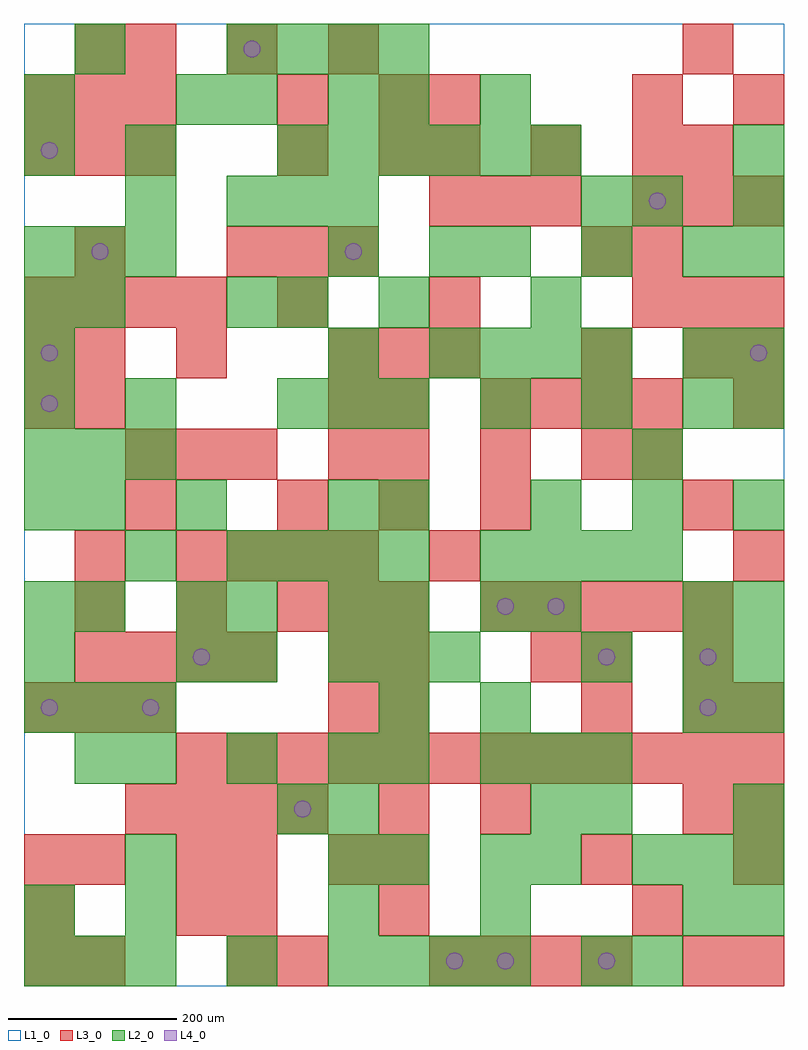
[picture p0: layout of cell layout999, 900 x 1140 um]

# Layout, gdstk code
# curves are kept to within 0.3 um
import gdstk
lib = gdstk.Library(unit=1e-6, precision=1e-09)
def R(c, l, rs):  # rectangles x0, y0, x1, y1
    for r in rs: c.add(gdstk.rectangle(r[:2], r[2:], *l))
def A(c, l, x, y, w, h, nx, ny, dx, dy):  # array of equal rectangles
    R(c, l, [(x+i*dx, y+j*dy, x+i*dx+w, y+j*dy+h) for i in range(nx) for j in range(ny)])
def P(c, l, *ps):  # polygons
    for p in ps: c.add(gdstk.Polygon(p, *l))
L1_0 = (1, 0)
L2_0 = (2, 0)
L3_0 = (3, 0)
L4_0 = (4, 0)

layout999 = lib.new_cell('layout999')
R(layout999, L1_0, [(0,0,900,1140)])
A(layout999, L2_0, 0, 0, 60, 60, 3, 3, 60, 300)
A(layout999, L2_0, 360, 0, 60, 60, 4, 1, 60, 0)
A(layout999, L2_0, 660, 0, 60, 60, 1, 3, 0, 180)
A(layout999, L2_0, 360, 60, 60, 60, 1, 3, 0, 60)
A(layout999, L2_0, 840, 60, 60, 60, 1, 3, 0, 120)
A(layout999, L2_0, 720, 120, 60, 60, 3, 1, 60, 0)
A(layout999, L2_0, 120, 240, 60, 60, 3, 1, 120, 0)
A(layout999, L2_0, 540, 240, 60, 60, 3, 1, 60, 0)
A(layout999, L2_0, 420, 300, 60, 60, 1, 3, 0, 120)
A(layout999, L2_0, 780, 300, 60, 60, 1, 3, 0, 60)
A(layout999, L2_0, 360, 360, 60, 60, 3, 1, 60, 0)
A(layout999, L2_0, 0, 420, 60, 60, 1, 3, 0, 120)
A(layout999, L2_0, 240, 480, 60, 60, 4, 2, 60, 600)
A(layout999, L2_0, 540, 480, 60, 60, 4, 1, 60, 0)
A(layout999, L2_0, 600, 540, 60, 60, 3, 1, 120, 0)
A(layout999, L2_0, 300, 660, 60, 60, 3, 1, 60, 0)
A(layout999, L2_0, 540, 660, 60, 60, 3, 2, 120, 180)
A(layout999, L2_0, 480, 720, 60, 60, 4, 1, 60, 0)
A(layout999, L2_0, 0, 840, 60, 60, 3, 1, 60, 0)
A(layout999, L2_0, 840, 840, 60, 60, 1, 3, 0, 60)
A(layout999, L2_0, 240, 900, 60, 60, 3, 1, 60, 0)
A(layout999, L2_0, 300, 960, 60, 60, 6, 1, 60, 0)
R(layout999, L2_0, [(240,0,300,60), (720,0,780,60), (0,60,60,120), (120,60,180,120), (540,60,600,120), (780,60,840,120), (120,120,180,180), (420,120,480,180), (540,120,600,180), (600,120,660,180), (300,180,360,240), (600,180,660,240), (60,240,120,300), (420,240,480,300), (540,300,600,360), (0,360,60,420), (180,360,240,420), (240,360,300,420), (840,360,900,420), (60,420,120,480), (180,420,240,480), (240,420,300,480), (360,420,420,480), (540,420,600,480), (600,420,660,480), (840,420,900,480), (120,480,180,540), (60,540,120,600), (180,540,240,600), (360,540,420,600), (720,600,780,660), (120,660,180,720), (840,660,900,720), (0,720,60,780), (360,720,420,780), (780,720,840,780), (840,720,900,780), (0,780,60,840), (60,780,120,840), (240,780,300,840), (300,780,360,840), (420,780,480,840), (600,780,660,840), (360,840,420,900), (480,840,540,900), (120,900,180,960), (660,900,720,960), (720,900,780,960), (0,960,60,1020), (120,960,180,1020), (0,1020,60,1080), (180,1020,240,1080), (240,1020,300,1080), (360,1020,420,1080), (420,1020,480,1080), (540,1020,600,1080), (60,1080,120,1140)])
A(layout999, L3_0, 0, 0, 60, 60, 1, 3, 0, 60)
A(layout999, L3_0, 240, 0, 60, 60, 1, 3, 0, 60)
A(layout999, L3_0, 480, 0, 60, 60, 4, 1, 60, 0)
A(layout999, L3_0, 420, 60, 60, 60, 1, 3, 0, 60)
A(layout999, L3_0, 120, 180, 60, 60, 4, 1, 60, 0)
A(layout999, L3_0, 180, 240, 60, 60, 12, 1, 60, 0)
A(layout999, L3_0, 0, 300, 60, 60, 3, 2, 60, 660)
A(layout999, L3_0, 360, 300, 60, 60, 1, 3, 0, 60)
A(layout999, L3_0, 420, 300, 60, 60, 1, 3, 0, 60)
A(layout999, L3_0, 840, 300, 60, 60, 1, 3, 0, 180)
A(layout999, L3_0, 60, 360, 60, 60, 4, 1, 60, 0)
A(layout999, L3_0, 780, 360, 60, 60, 1, 3, 0, 180)
A(layout999, L3_0, 60, 420, 60, 60, 3, 1, 120, 0)
A(layout999, L3_0, 540, 420, 60, 60, 5, 1, 60, 0)
A(layout999, L3_0, 180, 480, 60, 60, 4, 1, 60, 0)
A(layout999, L3_0, 300, 540, 60, 60, 3, 1, 120, 0)
A(layout999, L3_0, 120, 600, 60, 60, 3, 1, 60, 0)
A(layout999, L3_0, 420, 600, 60, 60, 3, 1, 120, 0)
A(layout999, L3_0, 540, 660, 60, 60, 4, 1, 60, 0)
A(layout999, L3_0, 360, 720, 60, 60, 3, 1, 60, 0)
A(layout999, L3_0, 0, 780, 60, 60, 4, 1, 60, 0)
A(layout999, L3_0, 720, 780, 60, 60, 3, 2, 60, 120)
A(layout999, L3_0, 240, 840, 60, 60, 3, 1, 60, 0)
A(layout999, L3_0, 480, 900, 60, 60, 3, 1, 60, 0)
A(layout999, L3_0, 480, 960, 60, 60, 3, 1, 120, 0)
A(layout999, L3_0, 0, 1020, 60, 60, 3, 1, 60, 0)
A(layout999, L3_0, 120, 1080, 60, 60, 3, 1, 120, 0)
R(layout999, L3_0, [(60,0,120,60), (300,0,360,60), (780,0,840,60), (840,0,900,60), (180,60,240,120), (720,60,780,120), (60,120,120,180), (180,120,240,180), (360,120,420,180), (660,120,720,180), (840,120,900,180), (540,180,600,240), (780,180,840,240), (840,180,900,240), (660,300,720,360), (780,300,840,360), (600,360,660,420), (660,360,720,420), (60,480,120,540), (480,480,540,540), (120,540,180,600), (360,600,420,660), (720,600,780,660), (0,660,60,720), (60,660,120,720), (360,660,420,720), (420,660,480,720), (0,720,60,780), (60,720,120,780), (180,720,240,780), (660,720,720,780), (840,720,900,780), (300,780,360,840), (480,780,540,840), (60,840,120,900), (660,840,720,900), (720,840,780,900), (300,960,360,1020), (420,960,480,1020), (780,960,840,1020), (300,1020,360,1080), (420,1020,480,1080), (480,1020,540,1080), (720,1020,780,1080), (840,1020,900,1080), (60,1080,120,1140), (780,1080,840,1140)])
P(layout999, L4_0, [(40,330),(39.239,333.827),(37.071,337.071),(33.827,339.239),(30,340),(26.173,339.239),(22.929,337.071),(20.761,333.827),(20,330),(20.761,326.173),(22.929,322.929),(26.173,320.761),(30,320),(33.827,320.761),(37.071,322.929),(39.239,326.173)],
  [(40,690),(39.239,693.827),(37.071,697.071),(33.827,699.239),(30,700),(26.173,699.239),(22.929,697.071),(20.761,693.827),(20,690),(20.761,686.173),(22.929,682.929),(26.173,680.761),(30,680),(33.827,680.761),(37.071,682.929),(39.239,686.173)],
  [(40,750),(39.239,753.827),(37.071,757.071),(33.827,759.239),(30,760),(26.173,759.239),(22.929,757.071),(20.761,753.827),(20,750),(20.761,746.173),(22.929,742.929),(26.173,740.761),(30,740),(33.827,740.761),(37.071,742.929),(39.239,746.173)],
  [(40,990),(39.239,993.827),(37.071,997.071),(33.827,999.239),(30,1000),(26.173,999.239),(22.929,997.071),(20.761,993.827),(20,990),(20.761,986.173),(22.929,982.929),(26.173,980.761),(30,980),(33.827,980.761),(37.071,982.929),(39.239,986.173)],
  [(100,870),(99.239,873.827),(97.071,877.071),(93.827,879.239),(90,880),(86.173,879.239),(82.929,877.071),(80.761,873.827),(80,870),(80.761,866.173),(82.929,862.929),(86.173,860.761),(90,860),(93.827,860.761),(97.071,862.929),(99.239,866.173)],
  [(160,330),(159.239,333.827),(157.071,337.071),(153.827,339.239),(150,340),(146.173,339.239),(142.929,337.071),(140.761,333.827),(140,330),(140.761,326.173),(142.929,322.929),(146.173,320.761),(150,320),(153.827,320.761),(157.071,322.929),(159.239,326.173)],
  [(220,390),(219.239,393.827),(217.071,397.071),(213.827,399.239),(210,400),(206.173,399.239),(202.929,397.071),(200.761,393.827),(200,390),(200.761,386.173),(202.929,382.929),(206.173,380.761),(210,380),(213.827,380.761),(217.071,382.929),(219.239,386.173)],
  [(280,1110),(279.239,1113.827),(277.071,1117.071),(273.827,1119.239),(270,1120),(266.173,1119.239),(262.929,1117.071),(260.761,1113.827),(260,1110),(260.761,1106.173),(262.929,1102.929),(266.173,1100.761),(270,1100),(273.827,1100.761),(277.071,1102.929),(279.239,1106.173)],
  [(340,210),(339.239,213.827),(337.071,217.071),(333.827,219.239),(330,220),(326.173,219.239),(322.929,217.071),(320.761,213.827),(320,210),(320.761,206.173),(322.929,202.929),(326.173,200.761),(330,200),(333.827,200.761),(337.071,202.929),(339.239,206.173)],
  [(400,870),(399.239,873.827),(397.071,877.071),(393.827,879.239),(390,880),(386.173,879.239),(382.929,877.071),(380.761,873.827),(380,870),(380.761,866.173),(382.929,862.929),(386.173,860.761),(390,860),(393.827,860.761),(397.071,862.929),(399.239,866.173)],
  [(520,30),(519.239,33.827),(517.071,37.071),(513.827,39.239),(510,40),(506.173,39.239),(502.929,37.071),(500.761,33.827),(500,30),(500.761,26.173),(502.929,22.929),(506.173,20.761),(510,20),(513.827,20.761),(517.071,22.929),(519.239,26.173)],
  [(580,30),(579.239,33.827),(577.071,37.071),(573.827,39.239),(570,40),(566.173,39.239),(562.929,37.071),(560.761,33.827),(560,30),(560.761,26.173),(562.929,22.929),(566.173,20.761),(570,20),(573.827,20.761),(577.071,22.929),(579.239,26.173)],
  [(580,450),(579.239,453.827),(577.071,457.071),(573.827,459.239),(570,460),(566.173,459.239),(562.929,457.071),(560.761,453.827),(560,450),(560.761,446.173),(562.929,442.929),(566.173,440.761),(570,440),(573.827,440.761),(577.071,442.929),(579.239,446.173)],
  [(640,450),(639.239,453.827),(637.071,457.071),(633.827,459.239),(630,460),(626.173,459.239),(622.929,457.071),(620.761,453.827),(620,450),(620.761,446.173),(622.929,442.929),(626.173,440.761),(630,440),(633.827,440.761),(637.071,442.929),(639.239,446.173)],
  [(700,30),(699.239,33.827),(697.071,37.071),(693.827,39.239),(690,40),(686.173,39.239),(682.929,37.071),(680.761,33.827),(680,30),(680.761,26.173),(682.929,22.929),(686.173,20.761),(690,20),(693.827,20.761),(697.071,22.929),(699.239,26.173)],
  [(700,390),(699.239,393.827),(697.071,397.071),(693.827,399.239),(690,400),(686.173,399.239),(682.929,397.071),(680.761,393.827),(680,390),(680.761,386.173),(682.929,382.929),(686.173,380.761),(690,380),(693.827,380.761),(697.071,382.929),(699.239,386.173)],
  [(760,930),(759.239,933.827),(757.071,937.071),(753.827,939.239),(750,940),(746.173,939.239),(742.929,937.071),(740.761,933.827),(740,930),(740.761,926.173),(742.929,922.929),(746.173,920.761),(750,920),(753.827,920.761),(757.071,922.929),(759.239,926.173)],
  [(820,330),(819.239,333.827),(817.071,337.071),(813.827,339.239),(810,340),(806.173,339.239),(802.929,337.071),(800.761,333.827),(800,330),(800.761,326.173),(802.929,322.929),(806.173,320.761),(810,320),(813.827,320.761),(817.071,322.929),(819.239,326.173)],
  [(820,390),(819.239,393.827),(817.071,397.071),(813.827,399.239),(810,400),(806.173,399.239),(802.929,397.071),(800.761,393.827),(800,390),(800.761,386.173),(802.929,382.929),(806.173,380.761),(810,380),(813.827,380.761),(817.071,382.929),(819.239,386.173)],
  [(880,750),(879.239,753.827),(877.071,757.071),(873.827,759.239),(870,760),(866.173,759.239),(862.929,757.071),(860.761,753.827),(860,750),(860.761,746.173),(862.929,742.929),(866.173,740.761),(870,740),(873.827,740.761),(877.071,742.929),(879.239,746.173)])

lib.write_gds('layout999.gds')
